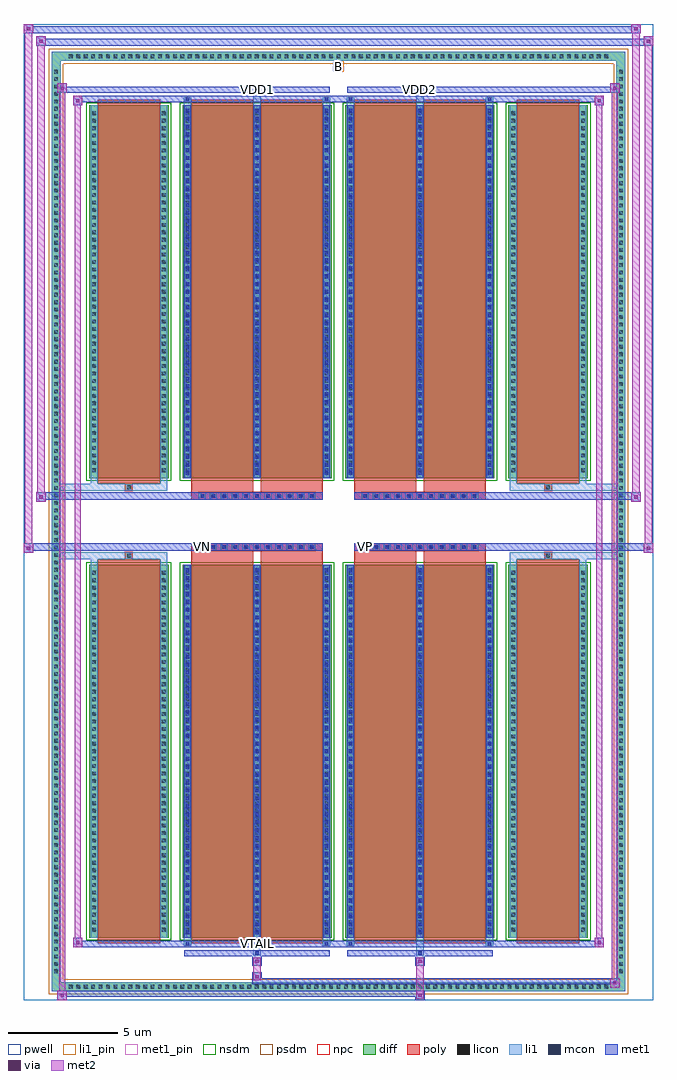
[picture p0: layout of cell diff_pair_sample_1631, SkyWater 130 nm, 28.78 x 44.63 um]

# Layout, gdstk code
import gdstk
lib = gdstk.Library(unit=1e-6, precision=5e-09)
def R(c, l, rs):  # rectangles x0, y0, x1, y1
    for r in rs: c.add(gdstk.rectangle(r[:2], r[2:], *l))
def A(c, l, x, y, w, h, nx, ny, dx, dy):  # array of equal rectangles
    R(c, l, [(x+i*dx, y+j*dy, x+i*dx+w, y+j*dy+h) for i in range(nx) for j in range(ny)])
def P(c, l, *ps):  # polygons
    for p in ps: c.add(gdstk.Polygon(p, *l))
pwell = (64, 44)
diff = (65, 20)
poly = (66, 20)
licon = (66, 44)
li1_pin = (67, 16)
li1 = (67, 20)
mcon = (67, 44)
met1_pin = (68, 16)
met1 = (68, 20)
via = (68, 44)
met2 = (69, 20)
nsdm = (93, 44)
psdm = (94, 20)
npc = (95, 20)

diff_pair_sample_1631 = lib.new_cell('diff_pair_sample_1631')
R(diff_pair_sample_1631, pwell, [(-14.39,-21.88,14.39,22.75), (-11.71,-20.07,-0.01,-0.805), (0.01,-20.07,11.71,-0.805), (-11.71,0.805,-0.01,20.07), (0.01,0.805,11.71,20.07)])
A(diff_pair_sample_1631, diff, -12.445, -21.48, 0.41, 0.41, 73, 2, 0.34, 42.55)
A(diff_pair_sample_1631, diff, -13.12, -20.775, 0.41, 0.41, 1, 122, 0, 0.34)
A(diff_pair_sample_1631, diff, 12.71, -20.775, 0.41, 0.41, 1, 122, 0, 0.34)
R(diff_pair_sample_1631, diff, [(-12.445,-21.48,12.445,-21.07), (-13.12,-20.775,-12.71,20.775), (12.71,-20.775,13.12,20.775), (-11.4,-19.025,-7.77,-1.985), (-7.13,-19.025,-0.32,-1.985), (0.32,-19.025,7.13,-1.985), (7.77,-19.025,11.4,-1.985), (-11.4,1.985,-7.77,19.025), (-7.13,1.985,-0.32,19.025), (0.32,1.985,7.13,19.025), (7.77,1.985,11.4,19.025), (-12.445,21.07,12.445,21.48)])
P(diff_pair_sample_1631, diff, [(13.12,21.48),(-13.12,21.48),(-13.12,-21.07),(-12.71,-21.07),(-12.71,21.07),(12.71,21.07),(12.71,-21.07),(-12.71,-21.07),(-13.12,-21.07),(-13.12,-21.48),(13.12,-21.48)])
A(diff_pair_sample_1631, poly, -6.39, -1.335, 0.33, 0.33, 11, 2, 0.5, 2.34)
A(diff_pair_sample_1631, poly, 1.06, -1.335, 0.33, 0.33, 11, 2, 0.5, 2.34)
R(diff_pair_sample_1631, poly, [(-11.01,-19.275,-8.16,-1.735), (-6.74,-19.275,-3.89,-1.735), (-3.56,-19.275,-0.71,-1.735), (0.71,-19.275,3.56,-1.735), (3.89,-19.275,6.74,-1.735), (8.16,-19.275,11.01,-1.735), (-9.75,-1.735,-9.42,-1.405), (-9.75,-1.735,-9.42,-1.405), (-6.74,-1.735,-3.89,-1.335), (-3.56,-1.735,-0.71,-1.335), (0.71,-1.735,3.56,-1.335), (3.89,-1.735,6.74,-1.335), (9.42,-1.735,9.75,-1.405), (9.42,-1.735,9.75,-1.405), (-6.74,-1.335,-0.71,-1.005), (0.71,-1.335,6.74,-1.005), (-6.74,1.005,-0.71,1.335), (0.71,1.005,6.74,1.335), (-6.74,1.335,-3.89,1.735), (-3.56,1.335,-0.71,1.735), (0.71,1.335,3.56,1.735), (3.89,1.335,6.74,1.735), (-9.75,1.405,-9.42,1.735), (-9.75,1.405,-9.42,1.735), (9.42,1.405,9.75,1.735), (9.42,1.405,9.75,1.735), (-11.01,1.735,-8.16,19.275), (-6.74,1.735,-3.89,19.275), (-3.56,1.735,-0.71,19.275), (0.71,1.735,3.56,19.275), (3.89,1.735,6.74,19.275), (8.16,1.735,11.01,19.275)])
A(diff_pair_sample_1631, licon, -12.325, -21.36, 0.17, 0.17, 73, 2, 0.34, 42.55)
A(diff_pair_sample_1631, licon, -13, -20.655, 0.17, 0.17, 1, 122, 0, 0.34)
A(diff_pair_sample_1631, licon, 12.83, -20.655, 0.17, 0.17, 1, 122, 0, 0.34)
A(diff_pair_sample_1631, licon, -11.26, -18.75, 0.17, 0.17, 1, 49, 0, 0.34)
A(diff_pair_sample_1631, licon, -8.08, -18.75, 0.17, 0.17, 1, 49, 0, 0.34)
A(diff_pair_sample_1631, licon, -6.99, -18.75, 0.17, 0.17, 3, 49, 3.18, 0.34)
A(diff_pair_sample_1631, licon, 0.46, -18.75, 0.17, 0.17, 3, 49, 3.18, 0.34)
A(diff_pair_sample_1631, licon, 7.91, -18.75, 0.17, 0.17, 1, 49, 0, 0.34)
A(diff_pair_sample_1631, licon, 11.09, -18.75, 0.17, 0.17, 1, 49, 0, 0.34)
A(diff_pair_sample_1631, licon, -6.31, -1.255, 0.17, 0.17, 11, 2, 0.5, 2.34)
A(diff_pair_sample_1631, licon, 1.14, -1.255, 0.17, 0.17, 11, 2, 0.5, 2.34)
A(diff_pair_sample_1631, licon, -11.26, 2.26, 0.17, 0.17, 1, 49, 0, 0.34)
A(diff_pair_sample_1631, licon, -8.08, 2.26, 0.17, 0.17, 1, 49, 0, 0.34)
A(diff_pair_sample_1631, licon, -6.99, 2.26, 0.17, 0.17, 3, 49, 3.18, 0.34)
A(diff_pair_sample_1631, licon, 0.46, 2.26, 0.17, 0.17, 3, 49, 3.18, 0.34)
A(diff_pair_sample_1631, licon, 7.91, 2.26, 0.17, 0.17, 1, 49, 0, 0.34)
A(diff_pair_sample_1631, licon, 11.09, 2.26, 0.17, 0.17, 1, 49, 0, 0.34)
R(diff_pair_sample_1631, licon, [(-9.67,-1.655,-9.5,-1.485), (9.5,-1.655,9.67,-1.485), (-9.67,1.485,-9.5,1.655), (9.5,1.485,9.67,1.655)])
R(diff_pair_sample_1631, li1_pin, [(-0.25,20.57,0.25,21.07)])
A(diff_pair_sample_1631, li1, -12.405, -21.44, 0.33, 0.33, 73, 2, 0.34, 42.55)
A(diff_pair_sample_1631, li1, -13.08, -20.735, 0.33, 0.33, 1, 122, 0, 0.34)
A(diff_pair_sample_1631, li1, 12.75, -20.735, 0.33, 0.33, 1, 122, 0, 0.34)
A(diff_pair_sample_1631, li1, -7.07, -19.025, 0.33, 17.04, 3, 2, 3.18, 21.01)
A(diff_pair_sample_1631, li1, 0.38, -19.025, 0.33, 17.04, 3, 2, 3.18, 21.01)
A(diff_pair_sample_1631, li1, -6.99, -18.87, 0.17, 0.17, 3, 47, 3.18, 0.36)
A(diff_pair_sample_1631, li1, -6.99, -18.87, 0.17, 16.73, 3, 2, 3.18, 21.01)
A(diff_pair_sample_1631, li1, 0.46, -18.87, 0.17, 0.17, 3, 47, 3.18, 0.36)
A(diff_pair_sample_1631, li1, 0.46, -18.87, 0.17, 16.73, 3, 2, 3.18, 21.01)
A(diff_pair_sample_1631, li1, -11.34, -18.83, 0.33, 0.33, 1, 49, 0, 0.34)
A(diff_pair_sample_1631, li1, -8.16, -18.83, 0.33, 0.33, 1, 49, 0, 0.34)
A(diff_pair_sample_1631, li1, -7.07, -18.83, 0.33, 0.33, 3, 49, 3.18, 0.34)
A(diff_pair_sample_1631, li1, 0.38, -18.83, 0.33, 0.33, 3, 49, 3.18, 0.34)
A(diff_pair_sample_1631, li1, 7.83, -18.83, 0.33, 0.33, 1, 49, 0, 0.34)
A(diff_pair_sample_1631, li1, 11.01, -18.83, 0.33, 0.33, 1, 49, 0, 0.34)
A(diff_pair_sample_1631, li1, -6.39, -1.335, 0.33, 0.33, 11, 2, 0.5, 2.34)
A(diff_pair_sample_1631, li1, 1.06, -1.335, 0.33, 0.33, 11, 2, 0.5, 2.34)
A(diff_pair_sample_1631, li1, -6.99, 2.14, 0.17, 0.17, 3, 47, 3.18, 0.36)
A(diff_pair_sample_1631, li1, 0.46, 2.14, 0.17, 0.17, 3, 47, 3.18, 0.36)
A(diff_pair_sample_1631, li1, -11.34, 2.18, 0.33, 0.33, 1, 49, 0, 0.34)
A(diff_pair_sample_1631, li1, -8.16, 2.18, 0.33, 0.33, 1, 49, 0, 0.34)
A(diff_pair_sample_1631, li1, -7.07, 2.18, 0.33, 0.33, 3, 49, 3.18, 0.34)
A(diff_pair_sample_1631, li1, 0.38, 2.18, 0.33, 0.33, 3, 49, 3.18, 0.34)
A(diff_pair_sample_1631, li1, 7.83, 2.18, 0.33, 0.33, 1, 49, 0, 0.34)
A(diff_pair_sample_1631, li1, 11.01, 2.18, 0.33, 0.33, 1, 49, 0, 0.34)
R(diff_pair_sample_1631, li1, [(-13.12,-21.48,-12.71,-21.07), (-13.12,-21.48,-12.71,-21.07), (-12.71,-21.48,12.71,-21.07), (12.71,-21.48,13.12,-21.07), (12.71,-21.48,13.12,-21.07), (-13.12,-21.07,-12.71,21.07), (12.71,-21.07,13.12,21.07), (-3.89,-19.83,-3.56,-19.025), (-3.81,-19.83,-3.64,-19.66), (3.56,-19.83,3.89,-19.025), (3.64,-19.83,3.81,-19.66), (-7.07,-19.4,-6.74,-19.025), (-6.99,-19.4,-6.82,-19.23), (-0.71,-19.4,-0.38,-19.025), (-0.63,-19.4,-0.46,-19.23), (0.38,-19.4,0.71,-19.025), (0.46,-19.4,0.63,-19.23), (6.74,-19.4,7.07,-19.025), (6.82,-19.4,6.99,-19.23), (-11.34,-19.025,-11.01,-1.985), (-8.16,-19.025,-7.83,-1.985), (7.83,-19.025,8.16,-1.985), (11.01,-19.025,11.34,-1.985), (-11.34,-1.985,-11.01,-1.405), (-8.16,-1.985,-7.83,-1.405), (7.83,-1.985,8.16,-1.405), (11.01,-1.985,11.34,-1.405), (-13.12,-1.735,-9.75,-1.405), (-11.34,-1.735,-9.75,-1.405), (-9.75,-1.735,-9.42,-1.405), (-9.42,-1.735,-7.83,-1.405), (7.83,-1.735,9.42,-1.405), (9.42,-1.735,9.75,-1.405), (9.42,-1.735,13.12,-1.405), (9.75,-1.735,11.34,-1.405), (-13.12,1.405,-9.75,1.735), (-11.34,1.405,-9.75,1.735), (-11.34,1.405,-11.01,1.985), (-9.75,1.405,-9.42,1.735), (-9.42,1.405,-7.83,1.735), (-8.16,1.405,-7.83,1.985), (7.83,1.405,9.42,1.735), (7.83,1.405,8.16,1.985), (9.42,1.405,9.75,1.735), (9.42,1.405,13.12,1.735), (9.75,1.405,11.34,1.735), (11.01,1.405,11.34,1.985), (-11.34,1.985,-11.01,19.025), (-8.16,1.985,-7.83,19.025), (7.83,1.985,8.16,19.025), (11.01,1.985,11.34,19.025), (-7.07,19.025,-6.74,19.4), (-3.89,19.025,-3.56,19.83), (-0.71,19.025,-0.38,19.4), (0.38,19.025,0.71,19.4), (3.56,19.025,3.89,19.83), (6.74,19.025,7.07,19.4), (-6.99,19.23,-6.82,19.4), (-0.63,19.23,-0.46,19.4), (0.46,19.23,0.63,19.4), (6.82,19.23,6.99,19.4), (-3.81,19.66,-3.64,19.83), (3.64,19.66,3.81,19.83), (-13.12,21.07,-12.71,21.48), (-13.12,21.07,-12.71,21.48), (-12.71,21.07,12.71,21.48), (12.71,21.07,13.12,21.48), (12.71,21.07,13.12,21.48)])
A(diff_pair_sample_1631, mcon, -6.99, -18.87, 0.17, 0.17, 3, 47, 3.18, 0.36)
A(diff_pair_sample_1631, mcon, 0.46, -18.87, 0.17, 0.17, 3, 47, 3.18, 0.36)
A(diff_pair_sample_1631, mcon, -6.31, -1.255, 0.17, 0.17, 11, 2, 0.5, 2.34)
A(diff_pair_sample_1631, mcon, 1.14, -1.255, 0.17, 0.17, 11, 2, 0.5, 2.34)
A(diff_pair_sample_1631, mcon, -6.99, 2.14, 0.17, 0.17, 3, 47, 3.18, 0.36)
A(diff_pair_sample_1631, mcon, 0.46, 2.14, 0.17, 0.17, 3, 47, 3.18, 0.36)
R(diff_pair_sample_1631, mcon, [(-3.81,-19.83,-3.64,-19.66), (3.64,-19.83,3.81,-19.66), (-6.99,-19.4,-6.82,-19.23), (-0.63,-19.4,-0.46,-19.23), (0.46,-19.4,0.63,-19.23), (6.82,-19.4,6.99,-19.23), (-6.99,19.23,-6.82,19.4), (-0.63,19.23,-0.46,19.4), (0.46,19.23,0.63,19.4), (6.82,19.23,6.99,19.4), (-3.81,19.66,-3.64,19.83), (3.64,19.66,3.81,19.83)])
R(diff_pair_sample_1631, met1_pin, [(-3.86,-19.44,-3.59,-19.17), (-6.36,-1.295,-6.09,-1.025), (1.09,-1.295,1.36,-1.025), (-3.86,19.62,-3.59,19.89), (3.59,19.62,3.86,19.89)])
A(diff_pair_sample_1631, met1, -7.05, -19.025, 0.29, 17.04, 3, 2, 3.18, 21.01)
A(diff_pair_sample_1631, met1, 0.4, -19.025, 0.29, 17.04, 3, 2, 3.18, 21.01)
A(diff_pair_sample_1631, met1, -7.05, -18.93, 0.29, 0.29, 3, 47, 3.18, 0.36)
A(diff_pair_sample_1631, met1, 0.4, -18.93, 0.29, 0.29, 3, 47, 3.18, 0.36)
A(diff_pair_sample_1631, met1, -6.37, -1.315, 0.29, 0.29, 11, 2, 0.5, 2.34)
A(diff_pair_sample_1631, met1, 1.08, -1.315, 0.29, 0.29, 11, 2, 0.5, 2.34)
A(diff_pair_sample_1631, met1, -7.05, 2.08, 0.29, 0.29, 3, 47, 3.18, 0.36)
A(diff_pair_sample_1631, met1, 0.4, 2.08, 0.29, 0.29, 3, 47, 3.18, 0.36)
R(diff_pair_sample_1631, met1, [(-12.85,-21.88,-12.42,-21.45), (3.51,-21.88,3.94,-21.45), (-12.85,-21.74,3.94,-21.45), (12.42,-21.31,12.85,-20.88), (-3.94,-21.17,12.85,-20.88), (-3.94,-21.03,-3.51,-20.6), (-3.94,-20.32,-3.51,-19.89), (3.51,-20.32,3.94,-19.89), (-7.05,-19.89,-0.4,-19.6), (-3.87,-19.89,-3.58,-19.6), (0.4,-19.89,7.05,-19.6), (3.58,-19.89,3.87,-19.6), (-12.14,-19.46,-11.71,-19.03), (-12.14,-19.46,-7.05,-19.17), (-7.05,-19.46,-6.76,-19.17), (-7.05,-19.46,-0.4,-19.17), (-0.69,-19.46,-0.4,-19.17), (-0.4,-19.46,0.4,-19.17), (0.4,-19.46,0.69,-19.17), (0.4,-19.46,7.05,-19.17), (6.76,-19.46,7.05,-19.17), (7.05,-19.46,12.14,-19.17), (11.71,-19.46,12.14,-19.03), (-14.39,-1.435,-13.96,-1.005), (13.96,-1.435,14.39,-1.005), (-14.39,-1.335,-0.71,-1.005), (-6.74,-1.335,-0.71,-1.005), (0.71,-1.335,6.74,-1.005), (0.71,-1.335,14.39,-1.005), (-13.82,0.905,-13.39,1.335), (13.39,0.905,13.82,1.335), (-13.82,1.005,-6.74,1.335), (-6.74,1.005,-0.71,1.335), (0.71,1.005,6.74,1.335), (6.74,1.005,13.82,1.335), (-12.14,19.03,-11.71,19.46), (11.71,19.03,12.14,19.46), (-12.14,19.17,-7.05,19.46), (-7.05,19.17,-6.76,19.46), (-7.05,19.17,-0.4,19.46), (-0.69,19.17,-0.4,19.46), (-0.4,19.17,0.4,19.46), (0.4,19.17,0.69,19.46), (0.4,19.17,7.05,19.46), (6.76,19.17,7.05,19.46), (7.05,19.17,12.14,19.46), (-12.85,19.6,-12.42,20.03), (-12.85,19.6,-7.05,19.89), (-7.05,19.6,-0.4,19.89), (-3.87,19.6,-3.58,19.89), (0.4,19.6,7.05,19.89), (3.58,19.6,3.87,19.89), (7.05,19.6,12.85,19.89), (12.42,19.6,12.85,20.03), (-13.82,21.75,-13.39,22.18), (-13.82,21.75,-11.71,22.08), (-11.71,21.75,11.71,22.08), (11.71,21.75,14.39,22.08), (13.96,21.75,14.39,22.18), (-14.39,22.32,-13.96,22.75), (-14.39,22.32,-11.71,22.65), (-11.71,22.32,11.71,22.65), (11.71,22.32,13.82,22.65), (13.39,22.32,13.82,22.75)])
R(diff_pair_sample_1631, via, [(-12.71,-21.74,-12.56,-21.59), (3.65,-21.74,3.8,-21.59), (12.56,-21.17,12.71,-21.02), (-3.8,-20.89,-3.65,-20.74), (-3.8,-20.18,-3.65,-20.03), (3.65,-20.18,3.8,-20.03), (-12,-19.32,-11.85,-19.17), (11.85,-19.32,12,-19.17), (-14.25,-1.295,-14.1,-1.145), (14.1,-1.295,14.25,-1.145), (-13.68,1.045,-13.53,1.195), (13.53,1.045,13.68,1.195), (-12,19.17,-11.85,19.32), (11.85,19.17,12,19.32), (-12.71,19.74,-12.56,19.89), (12.56,19.74,12.71,19.89), (-13.68,21.89,-13.53,22.04), (14.1,21.89,14.25,22.04), (-14.25,22.46,-14.1,22.61), (13.53,22.46,13.68,22.61)])
R(diff_pair_sample_1631, met2, [(-12.85,-21.88,-12.42,-21.45), (-12.78,-21.88,-12.49,20.03), (-12.49,-21.88,-12.42,-21.45), (-12.8,-21.83,-12.47,-21.5), (3.56,-21.83,3.89,-21.5), (3.56,-21.5,3.89,-20.27), (12.42,-21.31,12.85,-20.88), (12.49,-21.31,12.78,20.03), (12.78,-21.31,12.85,-20.88), (12.47,-21.26,12.8,-20.93), (-3.89,-20.98,-3.56,-20.65), (-3.89,-20.65,-3.56,-20.27), (-3.89,-20.27,-3.56,-19.94), (3.56,-20.27,3.89,-19.94), (-12.14,-19.46,-11.71,-19.03), (-12.07,-19.46,-11.78,19.46), (-11.78,-19.46,-11.71,-19.03), (11.71,-19.46,12.14,-19.03), (11.78,-19.46,12.07,19.46), (12.07,-19.46,12.14,-19.03), (-12.09,-19.41,-11.76,-19.08), (11.76,-19.41,12.09,-19.08), (-14.39,-1.435,-13.96,-1.005), (-14.34,-1.435,-14.01,22.75), (-14.01,-1.435,-13.96,-1.005), (13.96,-1.435,14.39,-1.005), (14.01,-1.435,14.34,22.18), (14.34,-1.435,14.39,-1.005), (-14.34,-1.385,-14.01,-1.055), (14.01,-1.385,14.34,-1.055), (-13.82,0.905,-13.39,1.335), (-13.77,0.905,-13.44,22.18), (-13.44,0.905,-13.39,1.335), (13.39,0.905,13.82,1.335), (13.44,0.905,13.77,22.75), (13.77,0.905,13.82,1.335), (-13.77,0.955,-13.44,1.285), (13.44,0.955,13.77,1.285), (-12.14,19.03,-11.71,19.46), (-11.78,19.03,-11.71,19.46), (11.71,19.03,12.14,19.46), (12.07,19.03,12.14,19.46), (-12.09,19.08,-11.76,19.41), (11.76,19.08,12.09,19.41), (-12.85,19.6,-12.42,20.03), (-12.49,19.6,-12.42,20.03), (12.42,19.6,12.85,20.03), (12.78,19.6,12.85,20.03), (-12.8,19.65,-12.47,19.98), (12.47,19.65,12.8,19.98), (-13.82,21.75,-13.39,22.18), (-13.44,21.75,-13.39,22.18), (13.96,21.75,14.39,22.18), (14.34,21.75,14.39,22.18), (-13.77,21.8,-13.44,22.13), (14.01,21.8,14.34,22.13), (-14.39,22.32,-13.96,22.75), (-14.01,22.32,-13.96,22.75), (13.39,22.32,13.82,22.75), (13.77,22.32,13.82,22.75), (-14.34,22.37,-14.01,22.7), (13.44,22.37,13.77,22.7)])
R(diff_pair_sample_1631, nsdm, [(-11.53,-19.155,-7.64,-1.855), (-7.26,-19.155,-0.19,-1.855), (0.19,-19.155,7.26,-1.855), (7.64,-19.155,11.53,-1.855), (-11.53,1.855,-7.64,19.155), (-7.26,1.855,-0.19,19.155), (0.19,1.855,7.26,19.155), (7.64,1.855,11.53,19.155)])
P(diff_pair_sample_1631, psdm, [(13.25,21.61),(-13.25,21.61),(-13.25,-20.94),(-12.58,-20.94),(-12.58,20.94),(12.58,20.94),(12.58,-20.94),(-12.58,-20.94),(-13.25,-20.94),(-13.25,-21.61),(13.25,-21.61)])
A(diff_pair_sample_1631, npc, -6.41, -1.355, 0.37, 0.37, 11, 2, 0.5, 2.34)
A(diff_pair_sample_1631, npc, 1.04, -1.355, 0.37, 0.37, 11, 2, 0.5, 2.34)
R(diff_pair_sample_1631, npc, [(-9.77,-1.755,-9.4,-1.385), (9.4,-1.755,9.77,-1.385), (-6.41,-1.355,-5.54,-0.985), (-6.41,-1.355,-5.54,-0.985), (-5.91,-1.355,-5.04,-0.985), (-5.91,-1.355,-5.04,-0.985), (-5.41,-1.355,-4.54,-0.985), (-5.41,-1.355,-4.54,-0.985), (-4.91,-1.355,-4.04,-0.985), (-4.91,-1.355,-4.04,-0.985), (-4.41,-1.355,-3.54,-0.985), (-4.41,-1.355,-3.54,-0.985), (-3.91,-1.355,-3.04,-0.985), (-3.91,-1.355,-3.04,-0.985), (-3.41,-1.355,-2.54,-0.985), (-3.41,-1.355,-2.54,-0.985), (-2.91,-1.355,-2.04,-0.985), (-2.91,-1.355,-2.04,-0.985), (-2.41,-1.355,-1.54,-0.985), (-2.41,-1.355,-1.54,-0.985), (-1.91,-1.355,-1.04,-0.985), (-1.91,-1.355,-1.04,-0.985), (1.04,-1.355,1.91,-0.985), (1.04,-1.355,1.91,-0.985), (1.54,-1.355,2.41,-0.985), (1.54,-1.355,2.41,-0.985), (2.04,-1.355,2.91,-0.985), (2.04,-1.355,2.91,-0.985), (2.54,-1.355,3.41,-0.985), (2.54,-1.355,3.41,-0.985), (3.04,-1.355,3.91,-0.985), (3.04,-1.355,3.91,-0.985), (3.54,-1.355,4.41,-0.985), (3.54,-1.355,4.41,-0.985), (4.04,-1.355,4.91,-0.985), (4.04,-1.355,4.91,-0.985), (4.54,-1.355,5.41,-0.985), (4.54,-1.355,5.41,-0.985), (5.04,-1.355,5.91,-0.985), (5.04,-1.355,5.91,-0.985), (5.54,-1.355,6.41,-0.985), (5.54,-1.355,6.41,-0.985), (-6.41,0.985,-5.54,1.355), (-6.41,0.985,-5.54,1.355), (-5.91,0.985,-5.04,1.355), (-5.91,0.985,-5.04,1.355), (-5.41,0.985,-4.54,1.355), (-5.41,0.985,-4.54,1.355), (-4.91,0.985,-4.04,1.355), (-4.91,0.985,-4.04,1.355), (-4.41,0.985,-3.54,1.355), (-4.41,0.985,-3.54,1.355), (-3.91,0.985,-3.04,1.355), (-3.91,0.985,-3.04,1.355), (-3.41,0.985,-2.54,1.355), (-3.41,0.985,-2.54,1.355), (-2.91,0.985,-2.04,1.355), (-2.91,0.985,-2.04,1.355), (-2.41,0.985,-1.54,1.355), (-2.41,0.985,-1.54,1.355), (-1.91,0.985,-1.04,1.355), (-1.91,0.985,-1.04,1.355), (1.04,0.985,1.91,1.355), (1.04,0.985,1.91,1.355), (1.54,0.985,2.41,1.355), (1.54,0.985,2.41,1.355), (2.04,0.985,2.91,1.355), (2.04,0.985,2.91,1.355), (2.54,0.985,3.41,1.355), (2.54,0.985,3.41,1.355), (3.04,0.985,3.91,1.355), (3.04,0.985,3.91,1.355), (3.54,0.985,4.41,1.355), (3.54,0.985,4.41,1.355), (4.04,0.985,4.91,1.355), (4.04,0.985,4.91,1.355), (4.54,0.985,5.41,1.355), (4.54,0.985,5.41,1.355), (5.04,0.985,5.91,1.355), (5.04,0.985,5.91,1.355), (5.54,0.985,6.41,1.355), (5.54,0.985,6.41,1.355), (-9.77,1.385,-9.4,1.755), (9.4,1.385,9.77,1.755)])
diff_pair_sample_1631.add(gdstk.Label('VTAIL', (-3.725,-19.305), layer=68, texttype=5))
diff_pair_sample_1631.add(gdstk.Label('VN', (-6.225,-1.16), layer=68, texttype=5))
diff_pair_sample_1631.add(gdstk.Label('VP', (1.225,-1.16), layer=68, texttype=5))
diff_pair_sample_1631.add(gdstk.Label('B', (0,20.82), layer=67, texttype=5))
diff_pair_sample_1631.add(gdstk.Label('VDD2', (3.725,19.755), layer=68, texttype=5))
diff_pair_sample_1631.add(gdstk.Label('VDD1', (-3.725,19.755), layer=68, texttype=5))

lib.write_gds('diff_pair_sample_1631.gds')
